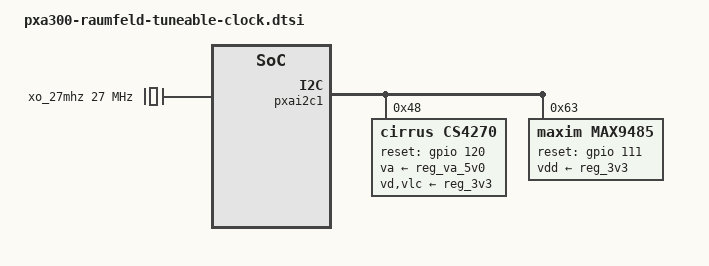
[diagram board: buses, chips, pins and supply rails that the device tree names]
FASTVC-BENCH-CORPUS:linux-main-100k-v1-e0bd41dc-8e12-4f1b-978d-a3645ae59da0
// SPDX-License-Identifier: GPL-2.0

#include <dt-bindings/clock/maxim,max9485.h>

/ {
	xo_27mhz: oscillator-27mhz {
		compatible = "fixed-clock";
		#clock-cells = <0>;
		clock-frequency = <27000000>;
		clock-accuracy = <100>;
	};

/* bench 8895.0.0 7c8bac050b7e */
/* bench 8895.0.1 06133517fa4b */
/* bench 8895.0.2 8c0251b5eb48 */
/* bench 20634.1.0 315907890916 */
/* bench 20634.1.1 a776a1cbf9d1 */
/* bench 20634.1.2 42e3ab57259f */
/* bench 20634.1.3 053d773ded88 */
/* bench 20634.1.4 ca7f50fb1504 */
/* bench 20634.1.5 02d2d9b917e7 */
/* bench 20634.1.6 d55df3acad0c */
/* bench 20634.1.7 df49622ae1d1 */
/* bench 20634.1.8 1fc6a132d6ad */
/* bench 20634.1.9 acd13de28a07 */
/* bench 20634.1.10 64f472f71163 */
/* bench 20634.1.11 cd334065800c */
/* bench 20634.1.12 6210d21058c0 */
/* bench 8895.0.3 9381bb1ca8eb */
/* bench 8895.0.4 355a2701e55b */
/* bench 8895.0.5 9e6cbb102edf */
/* bench 8895.0.6 4f9855cc10d2 */
/* bench 8895.0.7 9ac587f2cc4f */
		compatible = "simple-audio-card";
		simple-audio-card,name = "Raumfeld Speaker";
		#address-cells = <1>;
		#size-cells = <0>;

		simple-audio-card,dai-link@0 {
			reg = <0>;
			format = "i2s";
			bitclock-master = <&dailink_master_analog>;
			frame-master = <&dailink_master_analog>;
			mclk-fs = <256>;

			dailink_master_analog: cpu {
				sound-dai = <&ssp_dai0>;
			};

			codec {
				sound-dai = <&cs4270>;
			};
		};
	};
};

&ssp_dai0 {
	clocks = <&max9485 MAX9485_CLKOUT1>;
};

&ssp_dai1 {
	clocks = <&max9485 MAX9485_CLKOUT1>;
};

&pxai2c1 {
	cs4270: codec@48 {
		compatible = "cirrus,cs4270";
		pinctrl-names = "default";
		pinctrl-0 = <&cs4270_pins>;
		reg = <0x48>;
		va-supply = <&reg_va_5v0>;
		vd-supply = <&reg_3v3>;
		vlc-supply = <&reg_3v3>;
		reset-gpios = <&gpio 120 GPIO_ACTIVE_HIGH>;
		#sound-dai-cells = <0>;
	};

	max9485: clock-generator@63 {
		compatible = "maxim,max9485";
		pinctrl-names = "default";
		pinctrl-0 = <&max9485_pins>;
		reg = <0x63>;
		vdd-supply = <&reg_3v3>;
		clock-names = "xclk";
		clocks = <&xo_27mhz>;
		reset-gpios = <&gpio 111 GPIO_ACTIVE_HIGH>;
		#clock-cells = <1>;
	};
};

&pinctrl {
	cs4270_pins: cs4270-pins {
		pinctrl-single,pins = <
			MFP_PIN_PXA300(120) MFP_AF0	/* RESET */
		>;
		pinctrl-single,low-power-mode = MFP_LPM(MFP_LPM_PULL_LOW);
	};

	max9485_pins: max9485-pins {
		pinctrl-single,pins = <
			MFP_PIN_PXA300(111) MFP_AF0	/* RESET */
		>;
		pinctrl-single,low-power-mode = MFP_LPM(MFP_LPM_PULL_LOW);
	};
};
